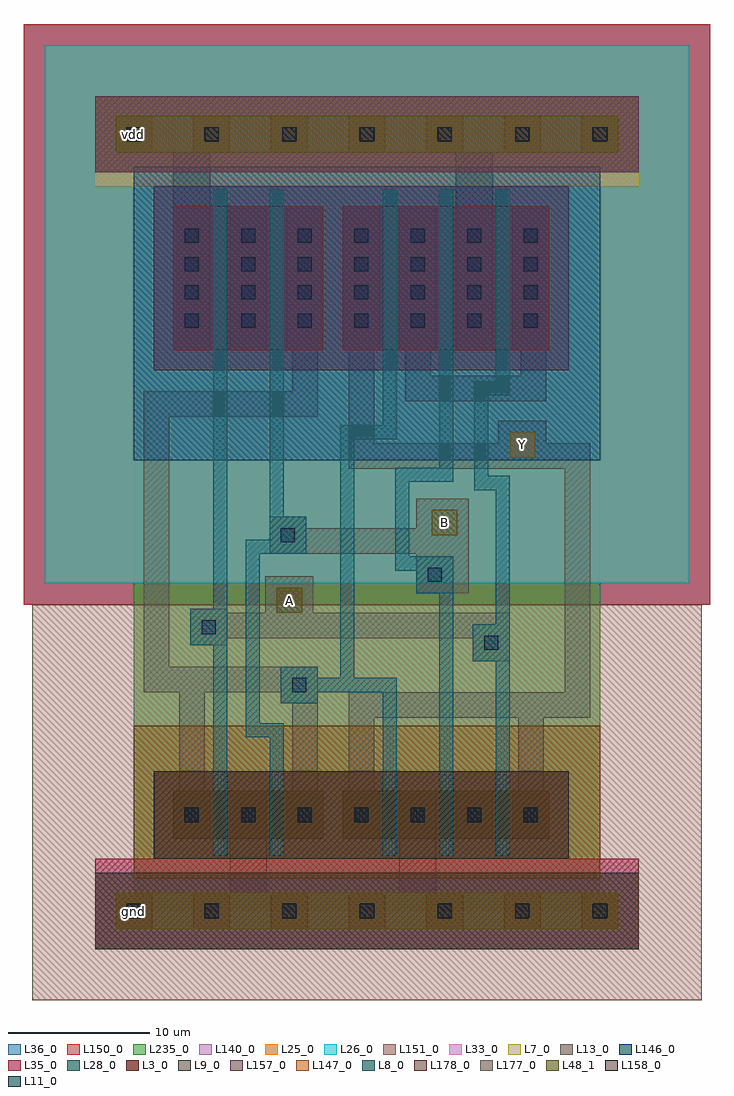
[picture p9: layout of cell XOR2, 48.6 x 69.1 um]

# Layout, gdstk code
import gdstk
lib = gdstk.Library(unit=1e-6, precision=1e-09)
def R(c, l, rs):  # rectangles x0, y0, x1, y1
    for r in rs: c.add(gdstk.rectangle(r[:2], r[2:], *l))
def A(c, l, x, y, w, h, nx, ny, dx, dy):  # array of equal rectangles
    R(c, l, [(x+i*dx, y+j*dy, x+i*dx+w, y+j*dy+h) for i in range(nx) for j in range(ny)])
def P(c, l, *ps):  # polygons
    for p in ps: c.add(gdstk.Polygon(p, *l))
L3_0 = (3, 0)
L7_0 = (7, 0)
L8_0 = (8, 0)
L9_0 = (9, 0)
L11_0 = (11, 0)
L13_0 = (13, 0)
L25_0 = (25, 0)
L26_0 = (26, 0)
L28_0 = (28, 0)
L33_0 = (33, 0)
L35_0 = (35, 0)
L36_0 = (36, 0)
L48_1 = (48, 1)
L140_0 = (140, 0)
L146_0 = (146, 0)
L147_0 = (147, 0)
L150_0 = (150, 0)
L151_0 = (151, 0)
L157_0 = (157, 0)
L158_0 = (158, 0)
L177_0 = (177, 0)
L178_0 = (178, 0)
L235_0 = (235, 0)

xor2 = lib.new_cell('XOR2')
A(xor2, L3_0, -1.3, -1.3, 2.6, 2.6, 7, 2, 5.5, 55)
R(xor2, L3_0, [(2.8,5.1,13.4,8.5), (14.8,5.1,29.4,8.5), (2.8,39.7,13.4,49.9), (14.8,39.7,29.4,49.9)])
R(xor2, L7_0, [(-2.75,-2.7,35.75,2.7)])
P(xor2, L7_0, [(1.4,38.3),(1.4,51.3),(-2.75,51.3),(-2.75,57.7),(35.75,57.7),(35.75,51.3),(30.8,51.3),(30.8,38.3)])
P(xor2, L8_0, [(5.6,3.9),(5.6,18.8),(4,18.8),(4,21.4),(5.6,21.4),(5.6,51.1),(6.6,51.1),(6.6,3.9)],
  [(9.6,3.9),(9.6,12.3),(7.9,12.3),(7.9,26.3),(9.6,26.3),(9.6,51.1),(10.6,51.1),(10.6,27.9),(12.2,27.9),(12.2,25.3),(8.9,25.3),(8.9,13.3),(10.6,13.3),(10.6,3.9)],
  [(17.6,3.9),(17.6,15.5),(13,15.5),(13,14.7),(10.4,14.7),(10.4,17.3),(13,17.3),(13,16.5),(14.6,16.5),(14.6,34.4),(17.6,34.4),(17.6,51.1),(18.6,51.1),(18.6,33.4),(15.6,33.4),(15.6,16.5),(18.6,16.5),(18.6,3.9)],
  [(21.6,3.9),(21.6,22.5),(20,22.5),(20,24.1),(18.5,24.1),(18.5,31.4),(21.6,31.4),(21.6,51.1),(22.6,51.1),(22.6,30.4),(19.5,30.4),(19.5,25.1),(22.6,25.1),(22.6,3.9)],
  [(25.6,3.9),(25.6,17.7),(24,17.7),(24,20.3),(25.6,20.3),(25.6,29.8),(24.1,29.8),(24.1,37.5),(25.6,37.5),(25.6,51.1),(26.6,51.1),(26.6,36.5),(25.1,36.5),(25.1,30.8),(26.6,30.8),(26.6,3.9)])
R(xor2, L9_0, [(1.4,3.7,30.8,9.9), (-2.75,52.3,35.75,57.7)])
A(xor2, L11_0, -0.5, -0.5, 1, 1, 7, 2, 5.5, 55)
A(xor2, L11_0, 7.6, 6.3, 1, 1, 4, 2, 4, 35)
A(xor2, L11_0, 3.6, 41.3, 1, 1, 1, 4, 0, 2)
A(xor2, L11_0, 7.6, 41.3, 1, 1, 1, 4, 0, 2)
A(xor2, L11_0, 19.6, 41.3, 1, 1, 1, 4, 0, 2)
A(xor2, L11_0, 27.6, 41.3, 1, 1, 1, 4, 0, 2)
A(xor2, L11_0, 7.6, 43.3, 1, 1, 4, 3, 4, 2)
R(xor2, L11_0, [(3.6,6.3,4.6,7.3), (7.6,6.3,8.6,7.3), (19.6,6.3,20.6,7.3), (23.6,6.3,24.6,7.3), (23.6,6.3,24.6,7.3), (27.6,6.3,28.6,7.3), (11.2,15.5,12.2,16.5), (24.8,18.5,25.8,19.5), (4.8,19.6,5.8,20.6), (20.8,23.3,21.8,24.3), (10.4,26.1,11.4,27.1), (23.6,41.3,24.6,42.3), (23.6,41.3,24.6,42.3), (23.6,43.3,24.6,44.3), (23.6,43.3,24.6,44.3), (23.6,45.3,24.6,46.3), (23.6,45.3,24.6,46.3), (23.6,47.3,24.6,48.3), (23.6,47.3,24.6,48.3)])
R(xor2, L13_0, [(22.8,5.1,25.4,8.5), (6.8,39.7,9.4,49.9)])
P(xor2, L13_0, [(-1.3,-1.3),(-1.3,1.3),(6.8,1.3),(6.8,8.5),(9.4,8.5),(9.4,1.3),(18.8,1.3),(18.8,8.5),(21.4,8.5),(21.4,1.3),(34.3,1.3),(34.3,-1.3)],
  [(24,17.7),(24,19.3),(6.6,19.3),(6.6,18.8),(4,18.8),(4,21.4),(6.6,21.4),(6.6,21.1),(9.3,21.1),(9.3,23.7),(12.7,23.7),(12.7,21.1),(26.6,21.1),(26.6,17.7)],
  [(20,22.5),(20,25.3),(9.6,25.3),(9.6,27.9),(12.2,27.9),(12.2,27.1),(20,27.1),(20,29.2),(23.7,29.2),(23.7,22.5)],
  [(2.8,5.1),(2.8,8.5),(3.2,8.5),(3.2,15.5),(0.7,15.5),(0.7,36.8),(11.2,36.8),(11.2,39.7),(10.8,39.7),(10.8,49.9),(13.4,49.9),(13.4,39.7),(13,39.7),(13,35),(2.5,35),(2.5,17.3),(13,17.3),(13,8.5),(13.4,8.5),(13.4,5.1),(10.8,5.1),(10.8,8.5),(11.2,8.5),(11.2,14.7),(10.4,14.7),(10.4,15.5),(5,15.5),(5,8.5),(5.4,8.5),(5.4,5.1)],
  [(14.8,5.1),(14.8,8.5),(15.2,8.5),(15.2,15.5),(30.5,15.5),(30.5,31.3),(15.2,31.3),(15.2,39.7),(14.8,39.7),(14.8,49.9),(17.4,49.9),(17.4,39.7),(17,39.7),(17,33.1),(25.8,33.1),(25.8,34.7),(29.2,34.7),(29.2,33.1),(32.3,33.1),(32.3,13.7),(29,13.7),(29,8.5),(29.4,8.5),(29.4,5.1),(26.8,5.1),(26.8,8.5),(27.2,8.5),(27.2,13.7),(17,13.7),(17,8.5),(17.4,8.5),(17.4,5.1)],
  [(19.2,36.1),(19.2,39.7),(18.8,39.7),(18.8,49.9),(21.4,49.9),(21.4,39.7),(21,39.7),(21,37.9),(27.4,37.9),(27.4,39.7),(26.8,39.7),(26.8,49.9),(29.4,49.9),(29.4,39.7),(29.2,39.7),(29.2,36.1)],
  [(2.8,39.7),(2.8,53.7),(-1.3,53.7),(-1.3,56.3),(34.3,56.3),(34.3,53.7),(25.4,53.7),(25.4,39.7),(22.8,39.7),(22.8,53.7),(5.4,53.7),(5.4,39.7)])
R(xor2, L25_0, [(-6.3,23.2,39.3,61.3)])
R(xor2, L26_0, [(-6.3,23.2,39.3,61.3)])
R(xor2, L28_0, [(-2.75,-2.7,35.75,2.7), (1.4,38.3,30.8,51.3)])
P(xor2, L33_0, [(-2.75,-2.7),(-2.75,3.7),(1.4,3.7),(1.4,9.9),(30.8,9.9),(30.8,3.7),(35.75,3.7),(35.75,-2.7)],
  [(1.4,38.3),(1.4,51.3),(-2.75,51.3),(-2.75,57.7),(35.75,57.7),(35.75,51.3),(30.8,51.3),(30.8,38.3)])
R(xor2, L35_0, [(-2.75,52.3,35.75,57.7)])
P(xor2, L35_0, [(-2.75,-2.7),(-2.75,3.7),(1.4,3.7),(1.4,9.9),(30.8,9.9),(30.8,3.7),(35.75,3.7),(35.75,-2.7)])
R(xor2, L36_0, [(-7.8,21.7,40.8,62.8)])
R(xor2, L48_1, [(-1.3,-1.3,34.3,1.3), (10.1,21.1,11.9,22.9), (21.1,26.6,22.9,28.4), (26.6,32.1,28.4,33.9), (-1.3,53.7,34.3,56.3)])
R(xor2, L140_0, [(-6.3,23.2,39.3,61.3)])
R(xor2, L146_0, [(0,31.9,33,52.7)])
R(xor2, L147_0, [(0,2.3,33,13.1)])
R(xor2, L150_0, [(-7.8,21.7,40.8,62.8)])
R(xor2, L151_0, [(-7.2,-6.3,40.2,21.7)])
R(xor2, L157_0, [(1.4,38.3,30.8,51.3)])
R(xor2, L158_0, [(1.4,3.7,30.8,9.9)])
R(xor2, L177_0, [(-2.75,52.3,35.75,57.7)])
R(xor2, L178_0, [(-2.75,-2.7,35.75,2.7)])
R(xor2, L235_0, [(0,0,33,55)])
xor2.add(gdstk.Label('Y', (27.5,33), layer=48, texttype=0))
xor2.add(gdstk.Label('A', (11,22), layer=48, texttype=0))
xor2.add(gdstk.Label('B', (22,27.5), layer=48, texttype=0))
xor2.add(gdstk.Label('vdd', (0,55), layer=48, texttype=0))
xor2.add(gdstk.Label('gnd', (0,0), layer=48, texttype=0))

lib.write_gds('XOR2.gds')
